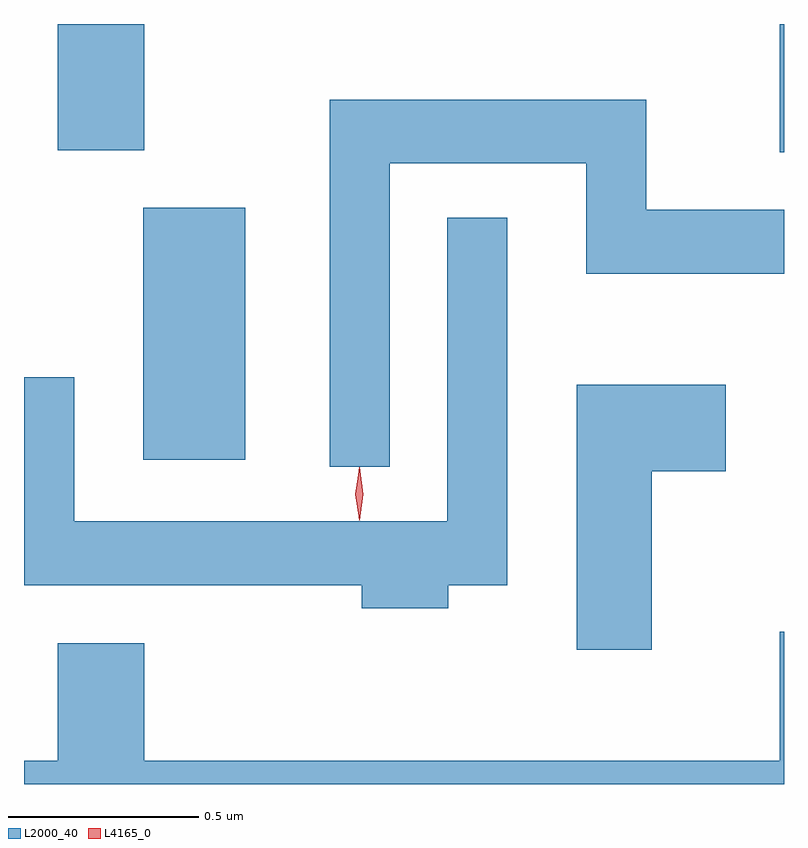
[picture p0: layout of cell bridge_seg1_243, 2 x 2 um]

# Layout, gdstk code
import gdstk
lib = gdstk.Library(unit=1e-6, precision=1e-09)
def R(c, l, rs):  # rectangles x0, y0, x1, y1
    for r in rs: c.add(gdstk.rectangle(r[:2], r[2:], *l))
def P(c, l, *ps):  # polygons
    for p in ps: c.add(gdstk.Polygon(p, *l))
L2000_40 = (2000, 40)
L4165_0 = (4165, 0)

bridge_seg1_243 = lib.new_cell('bridge_seg1_243')
R(bridge_seg1_243, L2000_40, [(830.206,873.996,830.474,874.659), (831.881,874.806,831.892,875.143), (829.981,874.811,830.209,875.143)])
P(bridge_seg1_243, L2000_40, [(830.854,874.776),(831.371,874.776),(831.371,874.486),(831.892,874.486),(831.892,874.654),(831.529,874.654),(831.529,874.944),(830.696,874.944),(830.696,873.978),(830.854,873.978)],
  [(831.009,873.666),(831.164,873.666),(831.164,874.633),(831.006,874.633),(831.006,873.834),(830.024,873.834),(830.024,874.213),(829.892,874.213),(829.892,873.666),(830.781,873.666),(830.781,873.606),(831.009,873.606)],
  [(831.544,873.966),(831.739,873.966),(831.739,874.194),(831.346,874.194),(831.346,873.496),(831.544,873.496)],
  [(831.892,873.544),(831.881,873.544),(831.881,873.204),(830.209,873.204),(830.209,873.514),(829.981,873.514),(829.981,873.204),(829.892,873.204),(829.892,873.143),(831.892,873.143)])
P(bridge_seg1_243, L4165_0, [(830.774,873.837),(830.765,873.906),(830.774,873.976),(830.775,873.976),(830.775,873.976),(830.785,873.906),(830.775,873.837),(830.775,873.837)],
  [(830.774,873.839),(830.774,873.84),(830.764,873.906),(830.774,873.972),(830.774,873.973),(830.775,873.972),(830.784,873.906),(830.775,873.84)])

lib.write_gds('bridge_seg1_243.gds')
